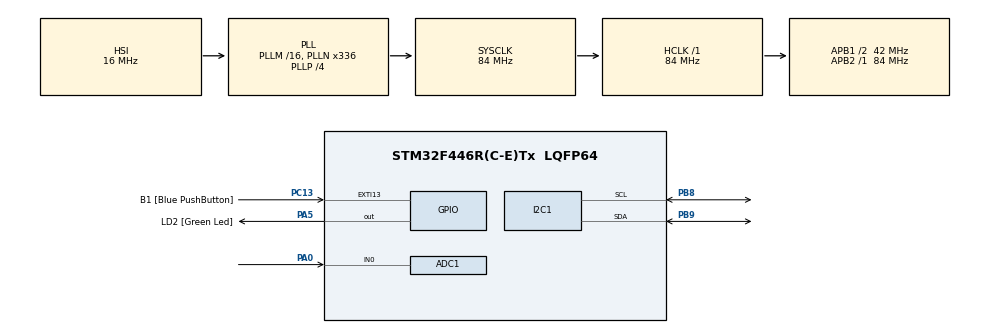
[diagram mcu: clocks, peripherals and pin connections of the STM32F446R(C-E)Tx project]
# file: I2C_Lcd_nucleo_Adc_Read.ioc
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ADC1.ContinuousConvMode=ENABLE
ADC1.EOCSelection=ADC_EOC_SEQ_CONV
ADC1.NbrOfConversionFlag=1
ADC1.master=1
Mcu.Family=STM32F4
Mcu.Name=STM32F446R(C-E)Tx
Mcu.Package=LQFP64
NVIC.PriorityGroup=NVIC_PRIORITYGROUP_0
PA0-WKUP.Signal=ADCx_IN0
PA13.GPIO_Label=TMS
PA13.Mode=Serial_Wire
PA13.Signal=SYS_JTMS-SWDIO
PA14.GPIO_Label=TCK
PA14.Mode=Serial_Wire
PA14.Signal=SYS_JTCK-SWCLK
PA3.GPIO_Label=USART_RX
PA3.Signal=USART2_RX
PA5.GPIO_Label=LD2 [Green Led]
PA5.Signal=GPIO_Output
PB3.GPIO_Label=SWO
PB3.Signal=SYS_JTDO-SWO
PB8.Mode=I2C
PB8.Signal=I2C1_SCL
PB9.Mode=I2C
PB9.Signal=I2C1_SDA
PC13.GPIO_Label=B1 [Blue PushButton]
PC13.GPIO_ModeDefaultEXTI=GPIO_MODE_IT_FALLING
PC13.Signal=GPXTI13
PC14-OSC32_IN.Mode=LSE-External-Oscillator
PC14-OSC32_IN.Signal=RCC_OSC32_IN
PC15-OSC32_OUT.Mode=LSE-External-Oscillator
PC15-OSC32_OUT.Signal=RCC_OSC32_OUT
PH0-OSC_IN.Mode=HSE-External-Oscillator
PH0-OSC_IN.Signal=RCC_OSC_IN
PH1-OSC_OUT.Mode=HSE-External-Oscillator
PH1-OSC_OUT.Signal=RCC_OSC_OUT
ProjectManager.HeapSize=0x200
ProjectManager.StackSize=0x400
ProjectManager.TargetToolchain=STM32CubeIDE
RCC.48MHZClocksFreq_Value=84000000
RCC.AHBFreq_Value=84000000
RCC.APB1CLKDivider=RCC_HCLK_DIV2
RCC.APB1Freq_Value=42000000
RCC.APB1TimFreq_Value=84000000
RCC.APB2Freq_Value=84000000
RCC.APB2TimFreq_Value=84000000
RCC.CortexFreq_Value=84000000
RCC.FLatency-AdvancedSettings=FLASH_LATENCY_2
RCC.HCLKFreq_Value=84000000
RCC.HSE_VALUE=8000000
RCC.HSI_VALUE=16000000
RCC.PLLN=336
RCC.PLLP=RCC_PLLP_DIV4
RCC.SYSCLKFreq_VALUE=84000000
RCC.SYSCLKSource=RCC_SYSCLKSOURCE_PLLCLK
RCC.USBFreq_Value=168000000
RCC.VCOOutputFreq_Value=336000000
SH.ADCx_IN0.0=ADC1_IN0,IN0
board=NUCLEO-F446RE

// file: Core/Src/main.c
/* USER CODE BEGIN Header */
/**
  ******************************************************************************
  * @file           : main.c
  * @brief          : Main program body
  ******************************************************************************
  * @attention
  *
  * Copyright (c) 2024 STMicroelectronics.
  * All rights reserved.
  *
  * This software is licensed under terms that can be found in the LICENSE file
  * in the root directory of this software component.
  * If no LICENSE file comes with this software, it is provided AS-IS.
  *
  ******************************************************************************
  */
/* USER CODE END Header */
#include "main.h"

/* USER CODE BEGIN Includes */
#include "stdbool.h"
#include "stdio.h"
#include "lcd1602_i2c_lib.h"

/* USER CODE END Includes */

ADC_HandleTypeDef hadc1;

I2C_HandleTypeDef hi2c1;

/* USER CODE BEGIN PV */
float Adc_Value;
char msg[10];
/* USER CODE END PV */

void SystemClock_Config(void);
static void MX_GPIO_Init(void);
static void MX_I2C1_Init(void);
static void MX_ADC1_Init(void);

int main(void)
{

  /* MCU Configuration--------------------------------------------------------*/

  /* Reset of all peripherals, Initializes the Flash interface and the Systick. */
  HAL_Init();

  /* Configure the system clock */
  SystemClock_Config();

  /* Initialize all configured peripherals */
  MX_GPIO_Init();
  MX_I2C1_Init();
  MX_ADC1_Init();
  /* USER CODE BEGIN 2 */
  HAL_ADC_Start(&hadc1);
  HAL_Delay(50);

  /* USER CODE END 2 */

  /* Infinite loop */
  while (1)
  {

    /* USER CODE BEGIN 3 */
	  	   HAL_ADC_Start(&hadc1);
	  	   if(HAL_ADC_PollForConversion(&hadc1, 100)==HAL_OK){
	       Adc_Value = HAL_ADC_GetValue(&hadc1);
	       Adc_Value = (Adc_Value/4095 )*3.3;  // Adjusting the value to the required scale
	       snprintf(msg, sizeof(msg), "val: %f\r\n", Adc_Value);
	       lcd1602_Backlight(1);
	       lcd1602_SetCursor(0,0);
	       lcd1602_Print_text(msg);
	       HAL_Delay(100);
	  	   }
  }
  /* USER CODE END 3 */
}

void SystemClock_Config(void)
{
  RCC_OscInitTypeDef RCC_OscInitStruct = {0};
  RCC_ClkInitTypeDef RCC_ClkInitStruct = {0};

  /** Configure the main internal regulator output voltage
  */
  __HAL_RCC_PWR_CLK_ENABLE();
  __HAL_PWR_VOLTAGESCALING_CONFIG(PWR_REGULATOR_VOLTAGE_SCALE3);

  /** Initializes the RCC Oscillators according to the specified parameters
  * in the RCC_OscInitTypeDef structure.
  */
  RCC_OscInitStruct.OscillatorType = RCC_OSCILLATORTYPE_HSI;
  RCC_OscInitStruct.HSIState = RCC_HSI_ON;
  RCC_OscInitStruct.HSICalibrationValue = RCC_HSICALIBRATION_DEFAULT;
  RCC_OscInitStruct.PLL.PLLState = RCC_PLL_ON;
  RCC_OscInitStruct.PLL.PLLSource = RCC_PLLSOURCE_HSI;
  RCC_OscInitStruct.PLL.PLLM = 16;
  RCC_OscInitStruct.PLL.PLLN = 336;
  RCC_OscInitStruct.PLL.PLLP = RCC_PLLP_DIV4;
  RCC_OscInitStruct.PLL.PLLQ = 2;
  RCC_OscInitStruct.PLL.PLLR = 2;
  if (HAL_RCC_OscConfig(&RCC_OscInitStruct) != HAL_OK)
  {
    Error_Handler();
  }

  /** Initializes the CPU, AHB and APB buses clocks
  */
  RCC_ClkInitStruct.ClockType = RCC_CLOCKTYPE_HCLK|RCC_CLOCKTYPE_SYSCLK
                              |RCC_CLOCKTYPE_PCLK1|RCC_CLOCKTYPE_PCLK2;
  RCC_ClkInitStruct.SYSCLKSource = RCC_SYSCLKSOURCE_PLLCLK;
  RCC_ClkInitStruct.AHBCLKDivider = RCC_SYSCLK_DIV1;
  RCC_ClkInitStruct.APB1CLKDivider = RCC_HCLK_DIV2;
  RCC_ClkInitStruct.APB2CLKDivider = RCC_HCLK_DIV1;

  if (HAL_RCC_ClockConfig(&RCC_ClkInitStruct, FLASH_LATENCY_2) != HAL_OK)
  {
    Error_Handler();
  }
}

static void MX_ADC1_Init(void)
{

  ADC_ChannelConfTypeDef sConfig = {0};

  /** Configure the global features of the ADC (Clock, Resolution, Data Alignment and number of conversion)
  */
  hadc1.Instance = ADC1;
  hadc1.Init.ClockPrescaler = ADC_CLOCK_SYNC_PCLK_DIV4;
  hadc1.Init.Resolution = ADC_RESOLUTION_12B;
  hadc1.Init.ScanConvMode = DISABLE;
  hadc1.Init.ContinuousConvMode = ENABLE;
  hadc1.Init.DiscontinuousConvMode = DISABLE;
  hadc1.Init.ExternalTrigConvEdge = ADC_EXTERNALTRIGCONVEDGE_NONE;
  hadc1.Init.ExternalTrigConv = ADC_SOFTWARE_START;
  hadc1.Init.DataAlign = ADC_DATAALIGN_RIGHT;
  hadc1.Init.NbrOfConversion = 1;
  hadc1.Init.DMAContinuousRequests = DISABLE;
  hadc1.Init.EOCSelection = ADC_EOC_SEQ_CONV;
  if (HAL_ADC_Init(&hadc1) != HAL_OK)
  {
    Error_Handler();
  }

  /** Configure for the selected ADC regular channel its corresponding rank in the sequencer and its sample time.
  */
  sConfig.Channel = ADC_CHANNEL_0;
  sConfig.Rank = 1;
  sConfig.SamplingTime = ADC_SAMPLETIME_3CYCLES;
  if (HAL_ADC_ConfigChannel(&hadc1, &sConfig) != HAL_OK)
  {
    Error_Handler();
  }

}

static void MX_I2C1_Init(void)
{

  hi2c1.Instance = I2C1;
  hi2c1.Init.ClockSpeed = 100000;
  hi2c1.Init.DutyCycle = I2C_DUTYCYCLE_2;
  hi2c1.Init.OwnAddress1 = 0;
  hi2c1.Init.AddressingMode = I2C_ADDRESSINGMODE_7BIT;
  hi2c1.Init.DualAddressMode = I2C_DUALADDRESS_DISABLE;
  hi2c1.Init.OwnAddress2 = 0;
  hi2c1.Init.GeneralCallMode = I2C_GENERALCALL_DISABLE;
  hi2c1.Init.NoStretchMode = I2C_NOSTRETCH_DISABLE;
  if (HAL_I2C_Init(&hi2c1) != HAL_OK)
  {
    Error_Handler();
  }

}

static void MX_GPIO_Init(void)
{
  GPIO_InitTypeDef GPIO_InitStruct = {0};

  /* GPIO Ports Clock Enable */
  __HAL_RCC_GPIOC_CLK_ENABLE();
  __HAL_RCC_GPIOH_CLK_ENABLE();
  __HAL_RCC_GPIOA_CLK_ENABLE();
  __HAL_RCC_GPIOB_CLK_ENABLE();

  /*Configure GPIO pin Output Level */
  HAL_GPIO_WritePin(LD2_GPIO_Port, LD2_Pin, GPIO_PIN_RESET);

  /*Configure GPIO pin : B1_Pin */
  GPIO_InitStruct.Pin = B1_Pin;
  GPIO_InitStruct.Mode = GPIO_MODE_IT_FALLING;
  GPIO_InitStruct.Pull = GPIO_NOPULL;
  HAL_GPIO_Init(B1_GPIO_Port, &GPIO_InitStruct);

  /*Configure GPIO pin : USART_RX_Pin */
  GPIO_InitStruct.Pin = USART_RX_Pin;
  GPIO_InitStruct.Mode = GPIO_MODE_AF_PP;
  GPIO_InitStruct.Pull = GPIO_NOPULL;
  GPIO_InitStruct.Speed = GPIO_SPEED_FREQ_VERY_HIGH;
  GPIO_InitStruct.Alternate = GPIO_AF7_USART2;
  HAL_GPIO_Init(USART_RX_GPIO_Port, &GPIO_InitStruct);

  /*Configure GPIO pin : LD2_Pin */
  GPIO_InitStruct.Pin = LD2_Pin;
  GPIO_InitStruct.Mode = GPIO_MODE_OUTPUT_PP;
  GPIO_InitStruct.Pull = GPIO_NOPULL;
  GPIO_InitStruct.Speed = GPIO_SPEED_FREQ_LOW;
  HAL_GPIO_Init(LD2_GPIO_Port, &GPIO_InitStruct);

}

void Error_Handler(void)
{
  __disable_irq();
  while (1)
  {
  }
}
